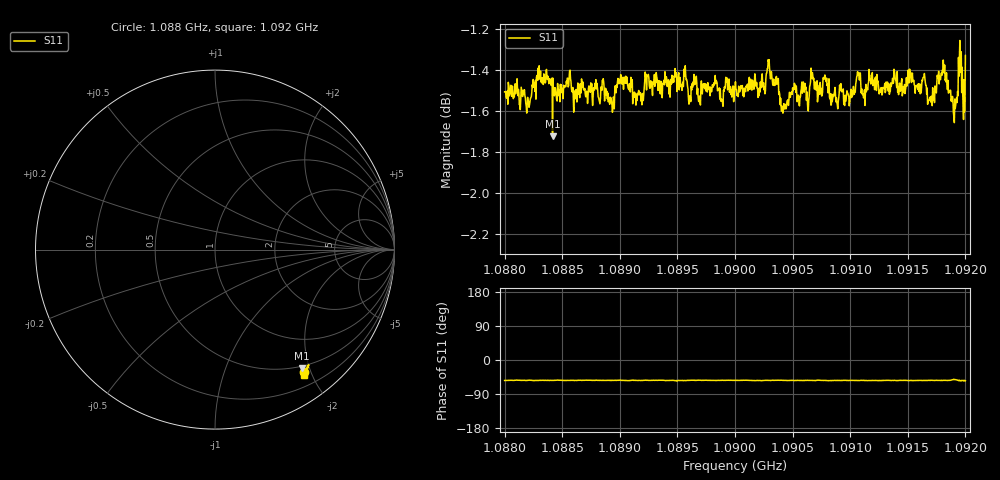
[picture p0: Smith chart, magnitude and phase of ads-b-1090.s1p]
! Calibrated averaged scanner-service zoom
# Hz S RI R 50
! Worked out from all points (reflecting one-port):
!   1001 points, 1.088 GHz to 1.092 GHz, reference 50 ohm
!   lowest |S11| = -1.7 dB at 1.08842 GHz (marker M1), VSWR 10.11, Z = 23.3 - j94 ohm
!   phase of S11 starts at -54 deg and turns -1 deg over the sweep
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1.088e9  0.4938 -0.6803
1.088104e9  0.5071 -0.6718
1.088184e9  0.492 -0.6749
1.08828e9  0.502 -0.6839
1.088416e9  0.484 -0.6619
1.0885e9  0.4956 -0.6809
1.088932e9  0.4903 -0.6754
1.089e9  0.5043 -0.6774
1.089072e9  0.4912 -0.6844
1.08912e9  0.4958 -0.6782
1.089352e9  0.4994 -0.675
1.0895e9  0.4917 -0.684
1.089612e9  0.4994 -0.6738
1.09e9  0.496 -0.681
1.09022e9  0.4919 -0.6875
1.0903e9  0.5022 -0.6881
1.090412e9  0.4928 -0.6704
1.0905e9  0.4966 -0.6806
1.091e9  0.4944 -0.6766
1.091068e9  0.4941 -0.6898
1.091112e9  0.4958 -0.6775
1.0915e9  0.4922 -0.6888
1.091692e9  0.4971 -0.6748
1.09182e9  0.5057 -0.6874
1.09186e9  0.4988 -0.6774
1.0919e9  0.5239 -0.6426
1.091952e9  0.5143 -0.6957
1.092e9  0.4969 -0.6994
